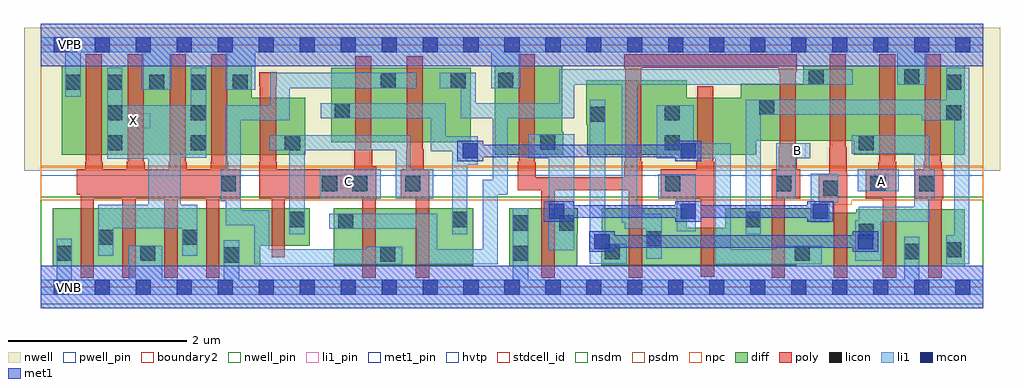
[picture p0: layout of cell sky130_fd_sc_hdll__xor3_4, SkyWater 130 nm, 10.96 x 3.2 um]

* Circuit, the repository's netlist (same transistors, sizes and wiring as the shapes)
* Copyright 2020 The SkyWater PDK Authors
*
* Licensed under the Apache License, Version 2.0 (the "License");
* you may not use this file except in compliance with the License.
* You may obtain a copy of the License at
*
*     https://www.apache.org/licenses/LICENSE-2.0
*
* Unless required by applicable law or agreed to in writing, software
* distributed under the License is distributed on an "AS IS" BASIS,
* WITHOUT WARRANTIES OR CONDITIONS OF ANY KIND, either express or implied.
* See the License for the specific language governing permissions and
* limitations under the License.
*
* SPDX-License-Identifier: Apache-2.0

.SUBCKT sky130_fd_sc_hdll__xor3_4 A B C VGND VNB VPB VPWR X
*.PININFO A:I B:I C:I VGND:I VNB:I VPB:I VPWR:I X:O
MMIP3 X net117 VPWR VPB sky130_fd_pr__pfet_01v8_hvt m=4 w=1.0U l=0.18U mult=1 sa=0.265
+ sb=0.265 sd=0.28 area=0.063 perim=1.14
MI650 mid1 Cb net117 VPB sky130_fd_pr__pfet_01v8_hvt m=1 w=0.84U l=0.18U mult=1
+ sa=0.265 sb=0.265 sd=0.28 area=0.063 perim=1.14
MI1 mid2 C net117 VPB sky130_fd_pr__pfet_01v8_hvt m=1 w=0.84U l=0.18U mult=1 sa=0.265
+ sb=0.265 sd=0.28 area=0.063 perim=1.14
MI33 Cb C VPWR VPB sky130_fd_pr__pfet_01v8_hvt m=1 w=0.64U l=0.18U mult=1 sa=0.265
+ sb=0.265 sd=0.28 area=0.063 perim=1.14
MI45 Ab A VPWR VPB sky130_fd_pr__pfet_01v8_hvt m=1 w=1.0U l=0.18U mult=1 sa=0.265
+ sb=0.265 sd=0.28 area=0.063 perim=1.14
MI47 Abb Ab VPWR VPB sky130_fd_pr__pfet_01v8_hvt m=1 w=1.0U l=0.18U mult=1 sa=0.265
+ sb=0.265 sd=0.28 area=0.063 perim=1.14
MI19 mid1 Bb Ab VPB sky130_fd_pr__pfet_01v8_hvt m=1 w=0.84U l=0.18U mult=1 sa=0.265
+ sb=0.265 sd=0.28 area=0.063 perim=1.14
MI16 Bb B VPWR VPB sky130_fd_pr__pfet_01v8_hvt m=1 w=1.0U l=0.18U mult=1 sa=0.265
+ sb=0.265 sd=0.28 area=0.063 perim=1.14
MI23 mid1 B Abb VPB sky130_fd_pr__pfet_01v8_hvt m=1 w=0.64U l=0.18U mult=1 sa=0.265
+ sb=0.265 sd=0.28 area=0.063 perim=1.14
MI26 mid2 Bb Abb VPB sky130_fd_pr__pfet_01v8_hvt m=1 w=0.64U l=0.18U mult=1 sa=0.265
+ sb=0.265 sd=0.28 area=0.063 perim=1.14
MI27 mid2 B Ab VPB sky130_fd_pr__pfet_01v8_hvt m=1 w=0.84U l=0.18U mult=1 sa=0.265
+ sb=0.265 sd=0.28 area=0.063 perim=1.14
MMIN3 X net117 VGND VNB sky130_fd_pr__nfet_01v8 m=4 w=0.65U l=0.15U mult=1 sa=0.265
+ sb=0.265 sd=0.28 area=0.063 perim=1.14
MI34 Cb C VGND VNB sky130_fd_pr__nfet_01v8 m=1 w=0.42U l=0.15U mult=1 sa=0.265
+ sb=0.265 sd=0.28 area=0.063 perim=1.14
MI649 mid1 C net117 VNB sky130_fd_pr__nfet_01v8 m=1 w=0.64U l=0.15U mult=1 sa=0.265
+ sb=0.265 sd=0.28 area=0.063 perim=1.14
MI2 mid2 Cb net117 VNB sky130_fd_pr__nfet_01v8 m=1 w=0.64U l=0.15U mult=1 sa=0.265
+ sb=0.265 sd=0.28 area=0.063 perim=1.14
MI44 Ab A VGND VNB sky130_fd_pr__nfet_01v8 m=1 w=0.64U l=0.15U mult=1 sa=0.265
+ sb=0.265 sd=0.28 area=0.063 perim=1.14
MI46 Abb Ab VGND VNB sky130_fd_pr__nfet_01v8 m=1 w=0.64U l=0.15U mult=1 sa=0.265
+ sb=0.265 sd=0.28 area=0.063 perim=1.14
MI17 Bb B VGND VNB sky130_fd_pr__nfet_01v8 m=1 w=0.65U l=0.15U mult=1 sa=0.265
+ sb=0.265 sd=0.28 area=0.063 perim=1.14
MI24 Ab B mid1 VNB sky130_fd_pr__nfet_01v8 m=1 w=0.64U l=0.15U mult=1 sa=0.265
+ sb=0.265 sd=0.28 area=0.063 perim=1.14
MI25 Abb Bb mid1 VNB sky130_fd_pr__nfet_01v8 m=1 w=0.42U l=0.15U mult=1 sa=0.265
+ sb=0.265 sd=0.28 area=0.063 perim=1.14
MI28 Abb B mid2 VNB sky130_fd_pr__nfet_01v8 m=1 w=0.64U l=0.15U mult=1 sa=0.265
+ sb=0.265 sd=0.28 area=0.063 perim=1.14
MI29 Ab Bb mid2 VNB sky130_fd_pr__nfet_01v8 m=1 w=0.6U l=0.15U mult=1 sa=0.265
+ sb=0.265 sd=0.28 area=0.063 perim=1.14
.ENDS sky130_fd_sc_hdll__xor3_4

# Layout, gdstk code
import gdstk
lib = gdstk.Library(unit=1e-6, precision=1e-09)
def R(c, l, rs):  # rectangles x0, y0, x1, y1
    for r in rs: c.add(gdstk.rectangle(r[:2], r[2:], *l))
def A(c, l, x, y, w, h, nx, ny, dx, dy):  # array of equal rectangles
    R(c, l, [(x+i*dx, y+j*dy, x+i*dx+w, y+j*dy+h) for i in range(nx) for j in range(ny)])
def P(c, l, *ps):  # polygons
    for p in ps: c.add(gdstk.Polygon(p, *l))
nwell_pin = (64, 16)
nwell = (64, 20)
diff = (65, 20)
poly = (66, 20)
licon = (66, 44)
li1_pin = (67, 16)
li1 = (67, 20)
mcon = (67, 44)
met1_pin = (68, 16)
met1 = (68, 20)
hvtp = (78, 44)
stdcell_id = (81, 4)
nsdm = (93, 44)
psdm = (94, 20)
npc = (95, 20)
pwell_pin = (122, 16)
boundary2 = (236, 0)

sky130_fd_sc_hdll__xor3_ = lib.new_cell('sky130_fd_sc_hdll__xor3_4')
R(sky130_fd_sc_hdll__xor3_, nwell_pin, [(0.235,2.635,0.405,2.805)])
R(sky130_fd_sc_hdll__xor3_, nwell, [(-0.19,1.305,10.77,2.91)])
R(sky130_fd_sc_hdll__xor3_, diff, [(3.29,0.245,4.855,0.885), (3.26,1.625,4.825,2.465)])
P(sky130_fd_sc_hdll__xor3_, diff, [(10.375,2.485),(8.56,2.485),(8.56,2.285),(7.86,2.285),(7.86,2.125),(7.25,2.125),(7.25,2.325),(6.125,2.325),(6.125,1.825),(6.135,1.825),(6.135,1.485),(8.035,1.485),(8.035,1.645),(9.125,1.645),(9.125,1.485),(10.375,1.485)],
  [(10.375,0.875),(9.155,0.875),(9.155,0.835),(8.655,0.835),(8.655,0.885),(7.685,0.885),(7.685,0.665),(7.255,0.665),(7.255,0.885),(6.3,0.885),(6.3,0.525),(6.29,0.525),(6.29,0.245),(8.49,0.245),(8.49,0.235),(10.375,0.235)],
  [(6.03,0.885),(5.26,0.885),(5.26,0.235),(6.02,0.235),(6.02,0.605),(6.03,0.605)],
  [(5.865,1.745),(5.855,1.745),(5.855,2.485),(5.095,2.485),(5.095,1.485),(5.865,1.485)],
  [(3.02,0.885),(0.135,0.885),(0.135,0.235),(2.465,0.235),(2.465,0.465),(3.02,0.465)],
  [(2.97,2.125),(2.365,2.125),(2.365,2.485),(0.235,2.485),(0.235,1.485),(2.97,1.485)])
P(sky130_fd_sc_hdll__xor3_, poly, [(2.24,1.325),(2.105,1.325),(2.105,1.41),(2.095,1.41),(2.095,2.615),(1.915,2.615),(1.915,1.41),(1.905,1.41),(1.905,1.325),(1.635,1.325),(1.635,1.41),(1.625,1.41),(1.625,2.615),(1.445,2.615),(1.445,1.41),(1.435,1.41),(1.435,1.325),(1.165,1.325),(1.165,1.41),(1.155,1.41),(1.155,2.615),(0.975,2.615),(0.975,1.41),(0.965,1.41),(0.965,1.325),(0.695,1.325),(0.695,1.41),(0.685,1.41),(0.685,2.615),(0.505,2.615),(0.505,1.41),(0.495,1.41),(0.495,1.325),(0.4,1.325),(0.4,1.035),(0.445,1.035),(0.445,0.105),(0.595,0.105),(0.595,0.995),(0.915,0.995),(0.915,0.105),(1.065,0.105),(1.065,0.995),(1.385,0.995),(1.385,0.105),(1.535,0.105),(1.535,0.995),(1.855,0.995),(1.855,0.105),(2.005,0.105),(2.005,0.995),(2.24,0.995)],
  [(3.765,1.355),(3.72,1.355),(3.72,1.55),(3.71,1.55),(3.71,2.595),(3.53,2.595),(3.53,1.55),(3.52,1.55),(3.52,1.325),(2.65,1.325),(2.65,1.41),(2.64,1.41),(2.64,2.255),(2.65,2.255),(2.65,2.415),(2.45,2.415),(2.45,2.255),(2.46,2.255),(2.46,1.41),(2.45,1.41),(2.45,0.995),(2.59,0.995),(2.59,0.335),(2.74,0.335),(2.74,0.995),(3.61,0.995),(3.61,0.105),(3.76,0.105),(3.76,0.985),(3.765,0.985)],
  [(4.36,1.325),(4.3,1.325),(4.3,1.55),(4.29,1.55),(4.29,2.595),(4.11,2.595),(4.11,1.55),(4.1,1.55),(4.1,1.325),(4.04,1.325),(4.04,0.995),(4.21,0.995),(4.21,0.105),(4.36,0.105)],
  [(7.56,1.41),(7.55,1.41),(7.55,2.255),(7.37,2.255),(7.37,1.41),(7.36,1.41),(7.36,1.325),(6.96,1.325),(6.96,0.995),(7.41,0.995),(7.41,0.115),(7.56,0.115)],
  [(8.525,1.325),(8.485,1.325),(8.485,1.57),(8.475,1.57),(8.475,2.415),(8.485,2.415),(8.485,2.615),(6.55,2.615),(6.55,2.455),(6.56,2.455),(6.56,1.41),(6.55,1.41),(6.55,1.235),(5.555,1.235),(5.555,1.41),(5.545,1.41),(5.545,2.615),(5.365,2.615),(5.365,1.41),(5.355,1.41),(5.355,1.085),(5.62,1.085),(5.62,0.105),(5.77,0.105),(5.77,1.085),(6.6,1.085),(6.6,0.105),(6.75,0.105),(6.75,1.41),(6.74,1.41),(6.74,2.455),(6.75,2.455),(6.75,2.465),(8.285,2.465),(8.285,2.415),(8.295,2.415),(8.295,1.57),(8.285,1.57),(8.285,1.325),(8.205,1.325),(8.205,0.105),(8.355,0.105),(8.355,0.995),(8.525,0.995)],
  [(9.055,1.28),(9.05,1.28),(9.05,1.57),(9.04,1.57),(9.04,2.615),(8.86,2.615),(8.86,1.57),(8.85,1.57),(8.85,1.275),(8.735,1.275),(8.735,0.945),(8.905,0.945),(8.905,0.105),(9.055,0.105)],
  [(9.605,1.41),(9.595,1.41),(9.595,2.615),(9.415,2.615),(9.415,1.41),(9.405,1.41),(9.405,1.325),(9.265,1.325),(9.265,0.995),(9.455,0.995),(9.455,0.105),(9.605,0.105)],
  [(10.135,1.325),(10.115,1.325),(10.115,1.41),(10.105,1.41),(10.105,2.615),(9.925,2.615),(9.925,1.41),(9.915,1.41),(9.915,1.325),(9.815,1.325),(9.815,0.995),(9.965,0.995),(9.965,0.105),(10.115,0.105),(10.115,0.995),(10.135,0.995)])
A(sky130_fd_sc_hdll__xor3_, licon, 0.275, 2.215, 0.17, 0.17, 5, 1, 0.47, 0)
R(sky130_fd_sc_hdll__xor3_, licon, [(2.055,0.275,2.225,0.445), (3.81,0.285,3.98,0.455), (0.175,0.295,0.345,0.465), (1.115,0.295,1.285,0.465), (5.3,0.295,5.47,0.465), (8.465,0.295,8.635,0.465), (6.33,0.315,6.5,0.485), (9.695,0.315,9.865,0.485), (10.165,0.335,10.335,0.505), (6.8,0.46,6.97,0.63), (0.645,0.475,0.815,0.645), (1.585,0.475,1.755,0.645), (9.185,0.54,9.355,0.71), (5.3,0.635,5.47,0.805), (5.82,0.635,5.99,0.805), (3.34,0.655,3.51,0.825), (2.79,0.675,2.96,0.845), (4.62,0.675,4.79,0.845), (7.915,0.675,8.085,0.845), (8.785,1.025,8.955,1.195), (2.02,1.075,2.19,1.245), (3.155,1.075,3.325,1.245), (3.495,1.075,3.665,1.245), (4.09,1.075,4.26,1.245), (7.01,1.075,7.18,1.245), (8.255,1.075,8.425,1.245), (9.315,1.075,9.485,1.245), (9.865,1.075,10.035,1.245), (0.745,1.535,0.915,1.705), (1.685,1.535,1.855,1.705), (2.74,1.535,2.91,1.705), (7.005,1.535,7.175,1.705), (9.185,1.535,9.355,1.705), (5.605,1.545,5.775,1.715), (6.165,1.855,6.335,2.025), (0.745,1.875,0.915,2.045), (1.685,1.875,1.855,2.045), (7.005,1.875,7.175,2.045), (10.165,1.875,10.335,2.045), (3.3,1.895,3.47,2.065), (8.065,1.935,8.235,2.105), (10.165,2.215,10.335,2.385), (3.815,2.235,3.985,2.405), (4.6,2.235,4.77,2.405), (5.135,2.235,5.305,2.405), (8.62,2.275,8.79,2.445), (9.695,2.275,9.865,2.445)])
R(sky130_fd_sc_hdll__xor3_, li1_pin, [(3.365,1.105,3.535,1.275), (9.35,1.105,9.52,1.275), (8.42,1.445,8.59,1.615), (1.06,1.785,1.23,1.955)])
R(sky130_fd_sc_hdll__xor3_, li1, [(3.13,0.995,3.815,1.325), (9.175,1.075,9.635,1.325)])
P(sky130_fd_sc_hdll__xor3_, li1, [(4.215,2.405),(2.575,2.405),(2.575,2.045),(2.075,2.045),(2.075,1.325),(2.02,1.325),(2.02,0.965),(2.075,0.965),(2.075,0.695),(2.395,0.695),(2.395,0.255),(4.06,0.255),(4.06,0.455),(3.66,0.455),(3.66,0.425),(2.565,0.425),(2.565,0.865),(2.245,0.865),(2.245,1.875),(2.795,1.875),(2.795,2.235),(4.215,2.235)],
  [(10.035,1.325),(9.975,1.325),(9.975,1.705),(9.105,1.705),(9.105,1.495),(9.805,1.495),(9.805,0.905),(9.185,0.905),(9.185,0.75),(9.145,0.75),(9.145,0.295),(9.435,0.295),(9.435,0.735),(9.975,0.735),(9.975,0.995),(10.035,0.995)],
  [(1.855,2.465),(1.685,2.465),(1.685,2.045),(0.915,2.045),(0.915,2.465),(0.745,2.465),(0.745,1.44),(1.205,1.44),(1.205,0.925),(0.645,0.925),(0.645,0.35),(0.815,0.35),(0.815,0.66),(1.585,0.66),(1.585,0.35),(1.755,0.35),(1.755,0.925),(1.57,0.925),(1.57,1.455),(1.855,1.455)],
  [(10.58,2.805),(0,2.805),(0,2.635),(0.275,2.635),(0.275,2.135),(0.445,2.135),(0.445,2.635),(1.135,2.635),(1.135,2.215),(1.465,2.215),(1.465,2.635),(2.075,2.635),(2.075,2.215),(2.405,2.215),(2.405,2.635),(5.055,2.635),(5.055,2.235),(5.385,2.235),(5.385,2.635),(9.615,2.635),(9.615,2.275),(9.945,2.275),(9.945,2.635),(10.58,2.635)],
  [(9.115,2.445),(5.82,2.445),(5.82,2.065),(4.885,2.065),(4.885,2.405),(4.48,2.405),(4.48,2.235),(4.715,2.235),(4.715,1.895),(5.075,1.895),(5.075,1.205),(4.96,1.205),(4.96,0.425),(4.45,0.425),(4.45,0.825),(3.24,0.825),(3.24,0.655),(4.23,0.655),(4.23,0.255),(5.13,0.255),(5.13,1.035),(5.215,1.035),(5.215,1.04),(5.23,1.04),(5.23,1.045),(5.24,1.045),(5.24,1.05),(5.245,1.05),(5.245,1.895),(5.99,1.895),(5.99,2.275),(6.525,2.275),(6.525,0.72),(6.555,0.72),(6.555,0.655),(6.8,0.655),(6.8,0.32),(6.97,0.32),(6.97,0.825),(6.775,0.825),(6.775,0.89),(6.695,0.89),(6.695,2.275),(9.115,2.275)],
  [(8.955,1.275),(8.645,1.275),(8.645,0.73),(8.85,0.73),(8.85,0.945),(8.955,0.945)],
  [(8.64,1.615),(8.255,1.615),(8.255,0.995),(8.475,0.995),(8.475,1.445),(8.64,1.445)],
  [(8.77,0.465),(8.255,0.465),(8.255,0.425),(7.745,0.425),(7.745,1.615),(7.33,1.615),(7.33,2.045),(6.915,2.045),(6.915,1.445),(7.575,1.445),(7.575,0.255),(8.77,0.255)],
  [(7.355,1.27),(6.93,1.27),(6.93,0.995),(7.14,0.995),(7.14,0.63),(7.355,0.63)],
  [(6.58,0.485),(6.385,0.485),(6.385,0.595),(6.335,0.595),(6.335,2.105),(6.165,2.105),(6.165,0.265),(6.58,0.265)],
  [(5.99,1.715),(5.475,1.715),(5.475,1.445),(5.7,1.445),(5.7,0.415),(5.99,0.415)],
  [(4.905,1.695),(4.545,1.695),(4.545,2.065),(3.14,2.065),(3.14,1.895),(4.375,1.895),(4.375,1.525),(4.62,1.525),(4.62,0.595),(4.79,0.595),(4.79,1.375),(4.905,1.375)],
  [(4.405,1.325),(4.155,1.325),(4.155,1.705),(2.57,1.705),(2.57,1.535),(2.79,1.535),(2.79,0.595),(2.96,0.595),(2.96,1.535),(3.985,1.535),(3.985,0.995),(4.405,0.995)],
  [(10.58,0.085),(9.865,0.085),(9.865,0.565),(9.695,0.565),(9.695,0.085),(5.47,0.085),(5.47,0.885),(5.3,0.885),(5.3,0.085),(2.225,0.085),(2.225,0.525),(2.055,0.525),(2.055,0.085),(1.365,0.085),(1.365,0.465),(0.985,0.465),(0.985,0.085),(0.345,0.085),(0.345,0.545),(0.175,0.545),(0.175,0.085),(0,0.085),(0,-0.085),(10.58,-0.085)],
  [(10.425,2.465),(10.165,2.465),(10.165,2.105),(7.915,2.105),(7.915,0.595),(8.085,0.595),(8.085,1.935),(9.89,1.935),(9.89,1.875),(10.255,1.875),(10.255,0.585),(10.165,0.585),(10.165,0.255),(10.425,0.255)])
A(sky130_fd_sc_hdll__xor3_, mcon, 0.145, -0.085, 0.17, 0.17, 23, 2, 0.46, 2.72)
A(sky130_fd_sc_hdll__xor3_, mcon, 5.705, 0.765, 0.17, 0.17, 3, 1, 1.48, 0)
R(sky130_fd_sc_hdll__xor3_, mcon, [(6.215,0.425,6.385,0.595), (9.175,0.425,9.345,0.595), (4.735,1.445,4.905,1.615), (7.185,1.445,7.355,1.615)])
R(sky130_fd_sc_hdll__xor3_, met1_pin, [(0.235,-0.085,0.405,0.085), (0.235,2.635,0.405,2.805)])
R(sky130_fd_sc_hdll__xor3_, met1, [(0,-0.24,10.58,0.24), (0,2.48,10.58,2.96)])
P(sky130_fd_sc_hdll__xor3_, met1, [(9.405,0.625),(9.115,0.625),(9.115,0.58),(6.445,0.58),(6.445,0.625),(6.155,0.625),(6.155,0.395),(6.445,0.395),(6.445,0.44),(9.115,0.44),(9.115,0.395),(9.405,0.395)],
  [(8.895,0.965),(8.605,0.965),(8.605,0.92),(7.415,0.92),(7.415,0.965),(7.125,0.965),(7.125,0.92),(5.985,0.92),(5.985,0.965),(5.645,0.965),(5.645,0.735),(5.985,0.735),(5.985,0.78),(7.125,0.78),(7.125,0.735),(7.415,0.735),(7.415,0.78),(8.605,0.78),(8.605,0.735),(8.895,0.735)],
  [(7.415,1.645),(7.125,1.645),(7.125,1.6),(4.965,1.6),(4.965,1.645),(4.675,1.645),(4.675,1.415),(4.965,1.415),(4.965,1.46),(7.125,1.46),(7.125,1.415),(7.415,1.415)])
R(sky130_fd_sc_hdll__xor3_, hvtp, [(0,1.25,10.58,2.72)])
R(sky130_fd_sc_hdll__xor3_, stdcell_id, [(0,0,10.58,2.72)])
R(sky130_fd_sc_hdll__xor3_, nsdm, [(0,-0.19,10.58,1.015)])
R(sky130_fd_sc_hdll__xor3_, psdm, [(0,1.355,10.58,2.91)])
P(sky130_fd_sc_hdll__xor3_, npc, [(10.58,1.345),(0,1.345),(0,0.975),(8.685,0.975),(8.685,0.925),(9.105,0.925),(9.105,0.975),(10.58,0.975)])
R(sky130_fd_sc_hdll__xor3_, pwell_pin, [(0.235,-0.085,0.405,0.085)])
R(sky130_fd_sc_hdll__xor3_, boundary2, [(0,0,10.58,2.72)])
sky130_fd_sc_hdll__xor3_.add(gdstk.Label('X', (1.045,1.87), layer=67, texttype=5))
sky130_fd_sc_hdll__xor3_.add(gdstk.Label('C', (3.455,1.19), layer=67, texttype=5))
sky130_fd_sc_hdll__xor3_.add(gdstk.Label('B', (8.495,1.53), layer=67, texttype=5))
sky130_fd_sc_hdll__xor3_.add(gdstk.Label('A', (9.435,1.19), layer=67, texttype=5))
sky130_fd_sc_hdll__xor3_.add(gdstk.Label('VNB', (0.32,0), layer=64, texttype=59))
sky130_fd_sc_hdll__xor3_.add(gdstk.Label('VPB', (0.33,2.72), layer=64, texttype=5))
sky130_fd_sc_hdll__xor3_.add(gdstk.Label('VGND', (0.22,0), layer=68, texttype=5))
sky130_fd_sc_hdll__xor3_.add(gdstk.Label('VPWR', (0.23,2.72), layer=68, texttype=5))
sky130_fd_sc_hdll__xor3_.add(gdstk.Label('hkscl5hdv1_xor3_1', (0,0), layer=83, texttype=44))
sky130_fd_sc_hdll__xor3_.add(gdstk.Label('HHNEC', (0,2.72), layer=83, texttype=44))

lib.write_gds('sky130_fd_sc_hdll__xor3_4.gds')
